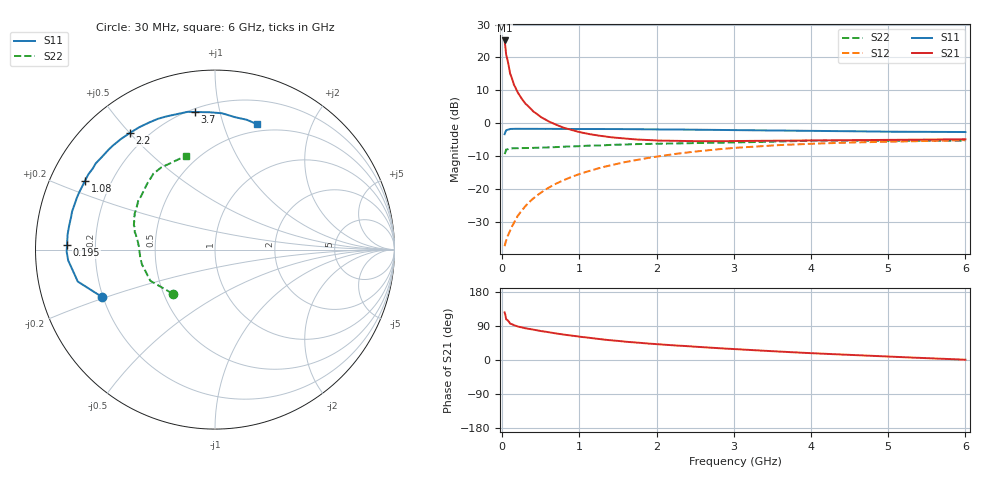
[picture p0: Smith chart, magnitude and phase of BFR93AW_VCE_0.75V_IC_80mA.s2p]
! (c) 2015  Infineon Technologies AG, Munich
! Infineon Technologies  Discrete & RF Semiconductors
! BFR93AW
! VCE = 0.75 V,  IC =  80 mA
! Common Emitter S-Parameters:  Nov 2015
# GHz  S  MA  R  50
!  f  S11  S21  S12  S22
! GHz  MAG  ANG  MAG  ANG  MAG  ANG  MAG  ANG
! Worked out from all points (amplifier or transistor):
!   206 points, 30 MHz to 6 GHz, reference 50 ohm
!   highest |S21| = 25.2 dB at 30 MHz (marker M1)
!   |S21| within 3 dB of that: start of sweep to 44.5 MHz
!   unconditionally stable (mu >= 1): start of sweep to end of sweep
!   at 200 MHz: K = 1.51, MAG = 14.5 dB, |S12| = -28.1 dB
!   at 1.56 GHz: K = 1.32, MAG = 0.3 dB, |S12| = -11.9 dB
!   at 6 GHz: K = 1.06, MAG = -1.4 dB, |S12| = -5.1 dB
!   S11 on the Smith chart (normalised r, x): 30 MHz: 0.19, -0.19; 195 MHz: 0.10, +0.02; 1.08 GHz: 0.11, +0.25; 2.2 GHz: 0.14, +0.50; 3.7 GHz: 0.22, +0.84; 6 GHz: 0.43, +1.30
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0.03  0.684 -157.4  18.14 125.6  0.0136 49.1  0.3408 -134.0
0.05  0.7851 -166.9  11.05 107.6  0.0167 47.4  0.4 -154.2
0.1  0.8203 -175.8  5.771 96.3  0.0235 56.9  0.4148 -167.9
0.15  0.8266 -179.2  3.879 91.9  0.0306 63.2  0.4186 -172.9
0.195  0.8248 178.2  3.034 88.8  0.0383 65.9  0.4188 -175.5
0.2  0.8247 177.9  2.941 88.4  0.0392 66.1  0.4189 -175.8
0.24  0.824 176.1  2.48 86.6  0.0453 68.0  0.4204 -177.4
0.3  0.8255 174.0  1.99 83.7  0.0553 69.9  0.4208 -179.1
0.4  0.8234 170.6  1.52 80.0  0.0719 71.0  0.423 178.3
0.5  0.8216 167.7  1.245 76.4  0.0884 71.5  0.4276 176.2
0.7  0.8221 161.9  0.947 69.9  0.1216 70.0  0.4349 173.2
0.8  0.822 159.2  0.854 66.9  0.1374 69.1  0.4424 171.7
1.04  0.819 152.9  0.719 60.7  0.1756 66.0  0.4525 168.5
1.08  0.8195 152.0  0.703 59.7  0.1818 65.5  0.4559 168.0
1.4  0.8199 144.2  0.616 52.0  0.2292 61.0  0.4708 163.7
2.02  0.8083 130.0  0.547 41.3  0.3141 51.9  0.4903 155.9
2.2  0.8045 126.1  0.543 38.9  0.3379 49.2  0.4942 153.0
3.1  0.787 108.4  0.539 27.7  0.4304 36.0  0.5143 140.9
3.7  0.775 98.2  0.546 21.1  0.4727 27.8  0.5333 132.9
4.1  0.7657 92.2  0.551 17.1  0.4938 22.7  0.5448 127.8
5.1  0.7452 80.3  0.561 8.0  0.5276 12.3  0.5417 116.7
6  0.7371 71.4  0.573 0.8  0.5557 4.5  0.5467 107.3
